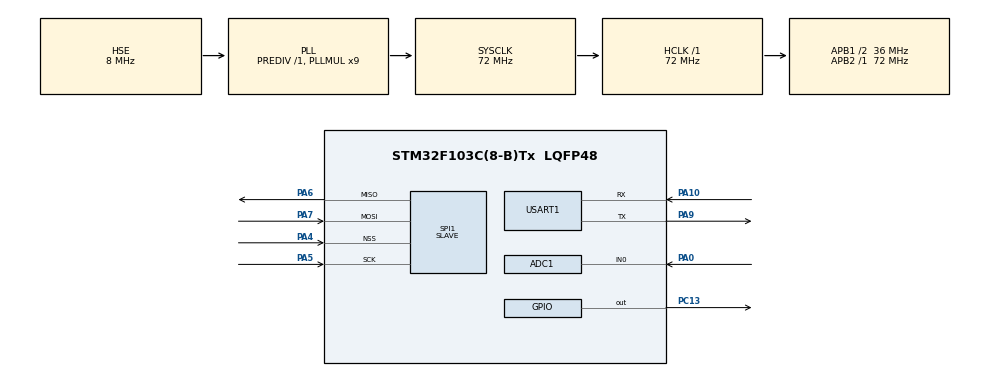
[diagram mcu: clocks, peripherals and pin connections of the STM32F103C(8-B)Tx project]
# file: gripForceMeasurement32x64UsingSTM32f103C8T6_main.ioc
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ADC1.Channel-0\#ChannelRegularConversion=ADC_CHANNEL_0
ADC1.NbrOfConversionFlag=1
ADC1.Rank-0\#ChannelRegularConversion=1
ADC1.SamplingTime-0\#ChannelRegularConversion=ADC_SAMPLETIME_1CYCLE_5
ADC1.master=1
Mcu.Family=STM32F1
Mcu.Name=STM32F103C(8-B)Tx
Mcu.Package=LQFP48
NVIC.PriorityGroup=NVIC_PRIORITYGROUP_4
NVIC.SPI1_IRQn=true\:0\:0\:false\:false\:true\:true\:true\:true
PA0-WKUP.Signal=ADCx_IN0
PA10.Mode=Asynchronous
PA10.Signal=USART1_RX
PA13.Mode=Serial_Wire
PA13.Signal=SYS_JTMS-SWDIO
PA14.Mode=Serial_Wire
PA14.Signal=SYS_JTCK-SWCLK
PA4.Mode=NSS_Signal_Hard_Input
PA4.Signal=SPI1_NSS
PA5.Mode=Full_Duplex_Slave
PA5.Signal=SPI1_SCK
PA6.Mode=Full_Duplex_Slave
PA6.Signal=SPI1_MISO
PA7.Mode=Full_Duplex_Slave
PA7.Signal=SPI1_MOSI
PA9.Mode=Asynchronous
PA9.Signal=USART1_TX
PC13-TAMPER-RTC.Signal=GPIO_Output
PD0-OSC_IN.Mode=HSE-External-Oscillator
PD0-OSC_IN.Signal=RCC_OSC_IN
PD1-OSC_OUT.Mode=HSE-External-Oscillator
PD1-OSC_OUT.Signal=RCC_OSC_OUT
ProjectManager.HeapSize=0x200
ProjectManager.StackSize=0x400
ProjectManager.TargetToolchain=STM32CubeIDE
RCC.ADCPresc=RCC_ADCPCLK2_DIV6
RCC.AHBFreq_Value=72000000
RCC.APB1CLKDivider=RCC_HCLK_DIV2
RCC.APB1Freq_Value=36000000
RCC.APB1TimFreq_Value=72000000
RCC.APB2Freq_Value=72000000
RCC.APB2TimFreq_Value=72000000
RCC.HCLKFreq_Value=72000000
RCC.PLLMUL=RCC_PLL_MUL9
RCC.PLLSourceVirtual=RCC_PLLSOURCE_HSE
RCC.SYSCLKFreq_VALUE=72000000
RCC.SYSCLKSource=RCC_SYSCLKSOURCE_PLLCLK
RCC.USBFreq_Value=72000000
SH.ADCx_IN0.0=ADC1_IN0,IN0
SPI1.Direction=SPI_DIRECTION_2LINES
SPI1.Mode=SPI_MODE_SLAVE
SPI1.VirtualNSS=VM_NSSHARD
SPI1.VirtualType=VM_SLAVE
USART1.VirtualMode=VM_ASYNC
board=custom

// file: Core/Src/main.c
/* USER CODE BEGIN Header */
/**
  ******************************************************************************
  * @file           : main.c
  * @brief          : Main program body
  ******************************************************************************
  * @attention
  *
  * Copyright (c) 2025 STMicroelectronics.
  * All rights reserved.
  *
  * This software is licensed under terms that can be found in the LICENSE file
  * in the root directory of this software component.
  * If no LICENSE file comes with this software, it is provided AS-IS.
  *
  ******************************************************************************
  */
/* USER CODE END Header */
#include "main.h"

/* USER CODE BEGIN Includes */
#include <stdio.h>
#include <string.h>
/* USER CODE END Includes */

/* USER CODE BEGIN PD */

//#define A0_PIN GPIO_PIN_5
//#define A1_PIN GPIO_PIN_6
//#define A2_PIN GPIO_PIN_7
//#define A3_PIN GPIO_PIN_8
//#define A4_PIN GPIO_PIN_9
//#define ROW_CS_PIN GPIO_PIN_12
//#define COL1_CS_PIN GPIO_PIN_13
//#define COL2_CS_PIN GPIO_PIN_14

#define WR_PIN GPIO_PIN_10
#define EN_PIN GPIO_PIN_1
#define GPIO_PORT GPIOB

#define DELAY_MicroSec 10

#define GPIO_PORT_A GPIOA
#define GPIO_PORT_B GPIOB

#define A0_PIN GPIO_PIN_4
#define A1_PIN GPIO_PIN_3
#define A2_PIN GPIO_PIN_15
#define A3_PIN GPIO_PIN_14
#define A4_PIN GPIO_PIN_13

#define CON_SEL_R_1 GPIO_PIN_0
#define CON_SEL_R_2 GPIO_PIN_5
#define CON_SEL_R_3 GPIO_PIN_7
#define CON_SEL_R_4 GPIO_PIN_2		// PORTA

#define CON_SEL_L_1 GPIO_PIN_11
#define CON_SEL_L_2 GPIO_PIN_12
#define CON_SEL_L_3 GPIO_PIN_6
#define CON_SEL_L_4 GPIO_PIN_1		// PORTA

#define ROW_SEL_L GPIO_PIN_8
#define ROW_SEL_R GPIO_PIN_9

/* USER CODE END PD */

ADC_HandleTypeDef hadc1;

SPI_HandleTypeDef hspi1;

UART_HandleTypeDef huart1;

/* USER CODE BEGIN PV */

// Updated 2D array to store pressure readings
uint16_t pressure_readings[32][64];

// Start and end markers for data transmission
uint8_t start_marker[] = {0xAA, 0xBB};
uint8_t end_marker[] = {0xBB, 0xAA};

// Updated 2D array to store pressure readings
//uint16_t pressure_readings[32][64];
uint16_t dummy_receive[32][64];

// globals
static uint16_t bufA[32][64];
static uint16_t bufB[32][64];
static volatile uint16_t (*tx_buf)[64]   = bufA;  // currently served to SPI
static volatile uint16_t (*fill_buf)[64] = bufB;  // being filled by ADC
static volatile uint8_t frame_ready = 0;

volatile uint8_t data_ready = 0;
volatile uint8_t spi_busy = 0;

volatile uint8_t need_scan  = 0;

/* USER CODE END PV */

void SystemClock_Config(void);
static void MX_GPIO_Init(void);
static void MX_ADC1_Init(void);
static void MX_USART1_UART_Init(void);
static void MX_SPI1_Init(void);
/* USER CODE BEGIN PFP */

void ADC1_Init(void);
void USART1_Init(void);

void DWT_Init(void);
void delay_us(uint32_t us);

uint16_t Read_ADC_Channel0(void);
void USART1_Transmit(const char *data);

void ADG732_Init(void);
void ADG732_SetAddress(uint8_t address);
uint8_t MapColumnIndex(uint8_t col);
void ADG732_SelectChannel(uint8_t col_channel, uint8_t row_channel);
void Collect_Pressure_Readings(void);
void Transmit_Pressure_Readings(void);

/* USER CODE END PFP */

/* USER CODE BEGIN 0 */

// Initialize GPIO pins for ADG732 control
// Initialize the DWT for microsecond delays
void DWT_Init(void) {
    CoreDebug->DEMCR |= CoreDebug_DEMCR_TRCENA_Msk;
    DWT->CYCCNT = 0;
    DWT->CTRL |= DWT_CTRL_CYCCNTENA_Msk;
}

// Microsecond delay using DWT
void delay_us(uint32_t us) {
    uint32_t cycles = (SystemCoreClock / 1000000) * us;
    uint32_t start = DWT->CYCCNT;
    while ((DWT->CYCCNT - start) < cycles);
}

// GPIO Initialization Function
void UD_GPIO_Init(void) {
    __HAL_RCC_GPIOC_CLK_ENABLE();  // Enable GPIOC clock
    //__HAL_RCC_GPIOA_CLK_ENABLE();

    GPIO_InitTypeDef GPIO_InitStruct = {0};
    GPIO_InitStruct.Pin = GPIO_PIN_13;
    GPIO_InitStruct.Mode = GPIO_MODE_OUTPUT_PP;  // Push-Pull Output
    GPIO_InitStruct.Pull = GPIO_NOPULL;  // No Pull-up/down
    GPIO_InitStruct.Speed = GPIO_SPEED_FREQ_LOW;  // Low-speed
    HAL_GPIO_Init(GPIOC, &GPIO_InitStruct);
}

// Initialize ADC1 on Channel 0
/*void ADC1_Init(void) {
    __HAL_RCC_ADC1_CLK_ENABLE();

    ADC_HandleTypeDef hadc1;
    hadc1.Instance = ADC1;
    hadc1.Init.ScanConvMode = ADC_SCAN_DISABLE;
    hadc1.Init.ContinuousConvMode = DISABLE;
    hadc1.Init.DiscontinuousConvMode = DISABLE;
    hadc1.Init.ExternalTrigConv = ADC_SOFTWARE_START;
    hadc1.Init.DataAlign = ADC_DATAALIGN_RIGHT;
    hadc1.Init.NbrOfConversion = 1;
    HAL_ADC_Init(&hadc1);

    ADC_ChannelConfTypeDef sConfig = {0};
    sConfig.Channel = ADC_CHANNEL_0;
    sConfig.Rank = ADC_REGULAR_RANK_1;
    HAL_ADC_ConfigChannel(&hadc1, &sConfig);
}

// Read ADC value from Channel 0
uint16_t Read_ADC_Channel0(void) {
    ADC_HandleTypeDef hadc1;
    hadc1.Instance = ADC1;

    HAL_ADC_Start(&hadc1);
    HAL_ADC_PollForConversion(&hadc1, HAL_MAX_DELAY);
    uint16_t adc_value = HAL_ADC_GetValue(&hadc1);
    HAL_ADC_Stop(&hadc1);

    return adc_value;
}*/

// GLOBAL hadc1 is already declared at file scope

void ADC1_Init(void) {
    __HAL_RCC_ADC1_CLK_ENABLE();

    hadc1.Instance = ADC1;                       // <-- use GLOBAL
    hadc1.Init.ScanConvMode = ADC_SCAN_DISABLE;
    hadc1.Init.ContinuousConvMode = DISABLE;
    hadc1.Init.DiscontinuousConvMode = DISABLE;
    hadc1.Init.ExternalTrigConv = ADC_SOFTWARE_START;
    hadc1.Init.DataAlign = ADC_DATAALIGN_RIGHT;
    hadc1.Init.NbrOfConversion = 1;
    HAL_ADC_Init(&hadc1);

    ADC_ChannelConfTypeDef sConfig = {0};
    sConfig.Channel = ADC_CHANNEL_0;
    sConfig.Rank = ADC_REGULAR_RANK_1;
    sConfig.SamplingTime = ADC_SAMPLETIME_28CYCLES_5; // give the mux time
    HAL_ADC_ConfigChannel(&hadc1, &sConfig);
}

uint16_t Read_ADC_Channel0(void) {
    HAL_ADC_Start(&hadc1);                        // <-- use GLOBAL
    HAL_ADC_PollForConversion(&hadc1, HAL_MAX_DELAY);
    uint16_t v = HAL_ADC_GetValue(&hadc1);
    HAL_ADC_Stop(&hadc1);
    return v;
}

// Initialize USART1 for UART communication
void USART1_Init(void) {
    __HAL_RCC_USART1_CLK_ENABLE();

    huart1.Instance = USART1;
    huart1.Init.BaudRate = 921600;//115200;
    huart1.Init.WordLength = UART_WORDLENGTH_8B;
    huart1.Init.StopBits = UART_STOPBITS_1;
    huart1.Init.Parity = UART_PARITY_NONE;
    huart1.Init.Mode = UART_MODE_TX_RX;
    huart1.Init.HwFlowCtl = UART_HWCONTROL_NONE;
    huart1.Init.OverSampling = UART_OVERSAMPLING_16;
    HAL_UART_Init(&huart1);
}

// Function to transmit data over USART1
void USART1_Transmit(const char *data) {
    HAL_UART_Transmit(&huart1, (uint8_t*)data, strlen(data), HAL_MAX_DELAY);
}

// Initialize GPIO pins for ADG732
void ADG732_Init(void) {
    __HAL_RCC_GPIOB_CLK_ENABLE();

    GPIO_InitTypeDef GPIO_InitStruct = {0};

    // Configure address pins (A0–A4)
    GPIO_InitStruct.Pin = A0_PIN | A1_PIN | A2_PIN | A3_PIN | A4_PIN;
    GPIO_InitStruct.Mode = GPIO_MODE_OUTPUT_PP;
    GPIO_InitStruct.Pull = GPIO_NOPULL;
    GPIO_InitStruct.Speed = GPIO_SPEED_FREQ_HIGH;
    HAL_GPIO_Init(GPIO_PORT, &GPIO_InitStruct);

    // Configure chip select pins
    GPIO_InitStruct.Pin = CON_SEL_R_1 | CON_SEL_R_2 | CON_SEL_R_3 | CON_SEL_L_1 | CON_SEL_L_2 | CON_SEL_L_3 | ROW_SEL_L | ROW_SEL_R;
    HAL_GPIO_Init(GPIO_PORT, &GPIO_InitStruct);

    // Configure chip select pins
	GPIO_InitStruct.Pin = CON_SEL_R_4 | CON_SEL_L_4;
	HAL_GPIO_Init(GPIO_PORT_A, &GPIO_InitStruct);

    // Configure WR and EN pins
    GPIO_InitStruct.Pin = WR_PIN | EN_PIN;
    HAL_GPIO_Init(GPIO_PORT, &GPIO_InitStruct);

    // Set default states
    HAL_GPIO_WritePin(GPIO_PORT, CON_SEL_R_1, GPIO_PIN_SET);
    HAL_GPIO_WritePin(GPIO_PORT, CON_SEL_R_2, GPIO_PIN_SET);
    HAL_GPIO_WritePin(GPIO_PORT, CON_SEL_R_3, GPIO_PIN_SET);
    HAL_GPIO_WritePin(GPIO_PORT_A, CON_SEL_R_4, GPIO_PIN_SET);
    HAL_GPIO_WritePin(GPIO_PORT, CON_SEL_L_1, GPIO_PIN_SET);
	HAL_GPIO_WritePin(GPIO_PORT, CON_SEL_L_2, GPIO_PIN_SET);
	HAL_GPIO_WritePin(GPIO_PORT, CON_SEL_L_3, GPIO_PIN_SET);
	HAL_GPIO_WritePin(GPIO_PORT_A, CON_SEL_L_4, GPIO_PIN_SET);
	HAL_GPIO_WritePin(GPIO_PORT, ROW_SEL_L, GPIO_PIN_SET);
	HAL_GPIO_WritePin(GPIO_PORT, ROW_SEL_R, GPIO_PIN_SET);
    HAL_GPIO_WritePin(GPIO_PORT, WR_PIN, GPIO_PIN_SET);
    HAL_GPIO_WritePin(GPIO_PORT, EN_PIN, GPIO_PIN_RESET);
}

// Set multiplexer address using address pins A0–A4
void ADG732_SetAddress(uint8_t address) {
    HAL_GPIO_WritePin(GPIO_PORT, A0_PIN, (address & 0x01) ? GPIO_PIN_SET : GPIO_PIN_RESET);
    HAL_GPIO_WritePin(GPIO_PORT, A1_PIN, (address & 0x02) ? GPIO_PIN_SET : GPIO_PIN_RESET);
    HAL_GPIO_WritePin(GPIO_PORT, A2_PIN, (address & 0x04) ? GPIO_PIN_SET : GPIO_PIN_RESET);
    HAL_GPIO_WritePin(GPIO_PORT, A3_PIN, (address & 0x08) ? GPIO_PIN_SET : GPIO_PIN_RESET);
    HAL_GPIO_WritePin(GPIO_PORT, A4_PIN, (address & 0x10) ? GPIO_PIN_SET : GPIO_PIN_RESET);
}

// Map logical column index to physical column index
//uint8_t MapColumnIndex(uint8_t col) {
//    if (col < 16) {
//        return col; // 0–15 map directly to 0–15
//    } else if (col < 32) {
//        return 31 - (col - 16); // 16–31 map in reverse to 31–16
//    } else if (col < 48) {
//        return col; // 32–47 map directly to 32–47
//    } else {
//        return 63 - (col - 48); // 48–63 map in reverse to 63–48
//    }
//}

uint8_t MapColumnIndex(uint8_t col) {
    if (col < 16) {
        return 16 + col; // 0–15 map directly to 16–31
    } else if (col < 32) {
        return (31-col); // 16–31 map in reverse to 15–0
    } else if (col < 48) {
        return col; // 32–47 map directly to 32–47
    } else {
        return 63 - (col - 48); // 48–63 map in reverse to 63–48
    }
}

uint8_t MapRowIndex(uint8_t row) {
	if (row <16) {
		return row; // 0–15 map directly to 0–15
	} else {
		return 31 -(row - 16); // 16–31 map in reverse to 31–16
	}
}

// Select a specific row and column
void ADG732_SelectChannel(uint8_t col_channel, uint8_t row_channel_val) {
    // Select row
	uint8_t row_channel;
	if (row_channel_val < 16) {
		//row_channel = 15 - row_channel_val;
		row_channel = row_channel_val;
	}
	else {
		 row_channel = 16 + (31 - row_channel_val);
		//row_channel = row_channel_val;
	}

//	HAL_GPIO_WritePin(GPIO_PORT, ROW_SEL_L, GPIO_PIN_RESET);
//	HAL_GPIO_WritePin(GPIO_PORT, EN_PIN, GPIO_PIN_SET);   // disable (EN is active-low)

	if (row_channel >= 0 && row_channel <8 && col_channel < 32) {
		HAL_GPIO_WritePin(GPIO_PORT, ROW_SEL_L, GPIO_PIN_RESET);
	}
	else if (row_channel >= 0 && row_channel <8 && col_channel >= 32) {
		HAL_GPIO_WritePin(GPIO_PORT, ROW_SEL_R, GPIO_PIN_RESET);
	}
	else if (row_channel >= 8 && row_channel <16 && col_channel < 32) {
		HAL_GPIO_WritePin(GPIO_PORT, ROW_SEL_L, GPIO_PIN_RESET);
	}
	else if (row_channel >= 8 && row_channel <16 && col_channel >= 32) {
		HAL_GPIO_WritePin(GPIO_PORT, ROW_SEL_R, GPIO_PIN_RESET);
	}
//bottom half
	else if (row_channel >= 16 && row_channel <24 && col_channel < 32) {
			HAL_GPIO_WritePin(GPIO_PORT, ROW_SEL_L, GPIO_PIN_RESET);
	}
	else if (row_channel >= 16 && row_channel <24 && col_channel >= 32) {
		HAL_GPIO_WritePin(GPIO_PORT, ROW_SEL_R, GPIO_PIN_RESET);
	}
	else if (row_channel >= 24 && row_channel <32 && col_channel < 32) {
		HAL_GPIO_WritePin(GPIO_PORT, ROW_SEL_L, GPIO_PIN_RESET);
	}
	else {
		HAL_GPIO_WritePin(GPIO_PORT, ROW_SEL_R, GPIO_PIN_RESET);
	}

//	if (col_channel <32) {
//		if (row_channel_val < 16) {
//			//row_channel = 15 - row_channel_val;
//			row_channel_val = 16 + row_channel_val;
//		}
//		else {
//			row_channel_val = 31- row_channel_val;
//			//row_channel = row_channel_val;
//		}
//	}
//
//    ADG732_SetAddress(row_channel_val);
	uint8_t row_address = row_channel_val;
	if (col_channel < 32) {
	    if (row_channel_val < 16) {
	        row_address = 16 + row_channel_val;
	    } else {
	        row_address = 31 - row_channel_val;
	    }
	}
	ADG732_SetAddress(row_address);

    delay_us(1);
    HAL_GPIO_WritePin(GPIO_PORT, WR_PIN, GPIO_PIN_RESET);
    delay_us(1);
    HAL_GPIO_WritePin(GPIO_PORT, WR_PIN, GPIO_PIN_SET);
    HAL_GPIO_WritePin(GPIO_PORT, ROW_SEL_L, GPIO_PIN_SET);
    HAL_GPIO_WritePin(GPIO_PORT, ROW_SEL_R, GPIO_PIN_SET);

//    if (col_channel <32 && row_channel_val < 16) {
//    	row_channel = (31 - row_channel_val);
//    }
	if (col_channel <32) {
		if (row_channel_val < 16) {
			//row_channel = 15 - row_channel_val;
			//row_channel = 31 - row_channel_val;
			//row_channel = 31- row_channel_val;
		}
	}

    //Select Column
//    HAL_GPIO_WritePin(GPIO_PORT, CON_SEL_L_1, GPIO_PIN_RESET);

    ADG732_SetAddress(col_channel);
    delay_us(1);

	if (row_channel >= 0 && row_channel <8 && col_channel < 32) {
		HAL_GPIO_WritePin(GPIO_PORT, CON_SEL_L_1, GPIO_PIN_RESET);
	}
	else if (row_channel >= 0 && row_channel <8 && col_channel >= 32) {
		HAL_GPIO_WritePin(GPIO_PORT, CON_SEL_R_1, GPIO_PIN_RESET);
	}
	else if (row_channel >= 8 && row_channel <16 && col_channel < 32) {
		HAL_GPIO_WritePin(GPIO_PORT, CON_SEL_L_2, GPIO_PIN_RESET);
	}
	else if (row_channel >= 8 && row_channel <16 && col_channel >= 32) {
		HAL_GPIO_WritePin(GPIO_PORT, CON_SEL_R_2, GPIO_PIN_RESET);
	}
//bottom half
	else if (row_channel >= 16 && row_channel <24 && col_channel < 32) {
			HAL_GPIO_WritePin(GPIO_PORT, CON_SEL_L_3, GPIO_PIN_RESET);
	}
	else if (row_channel >= 16 && row_channel <24 && col_channel >= 32) {
		HAL_GPIO_WritePin(GPIO_PORT, CON_SEL_R_3, GPIO_PIN_RESET);
	}
	else if (row_channel >= 24 && row_channel <32 && col_channel < 32) {
		HAL_GPIO_WritePin(GPIO_PORT_A, CON_SEL_L_4, GPIO_PIN_RESET);
	}
	else {
		HAL_GPIO_WritePin(GPIO_PORT_A, CON_SEL_R_4, GPIO_PIN_RESET);
	}

    //HAL_GPIO_WritePin(GPIO_PORT, ROW_CS_PIN, GPIO_PIN_RESET);
//    ADG732_SetAddress(col_channel);
//    delay_us(1);
    HAL_GPIO_WritePin(GPIO_PORT, WR_PIN, GPIO_PIN_RESET);
    delay_us(1);
    HAL_GPIO_WritePin(GPIO_PORT, WR_PIN, GPIO_PIN_SET);

    HAL_GPIO_WritePin(GPIO_PORT, CON_SEL_L_1, GPIO_PIN_SET);
    HAL_GPIO_WritePin(GPIO_PORT, CON_SEL_L_2, GPIO_PIN_SET);
    HAL_GPIO_WritePin(GPIO_PORT, CON_SEL_L_3, GPIO_PIN_SET);
    HAL_GPIO_WritePin(GPIO_PORT_A, CON_SEL_L_4, GPIO_PIN_SET);
    HAL_GPIO_WritePin(GPIO_PORT, CON_SEL_R_1, GPIO_PIN_SET);
    HAL_GPIO_WritePin(GPIO_PORT, CON_SEL_R_2, GPIO_PIN_SET);
    HAL_GPIO_WritePin(GPIO_PORT, CON_SEL_R_3, GPIO_PIN_SET);
    HAL_GPIO_WritePin(GPIO_PORT_A, CON_SEL_R_4, GPIO_PIN_SET);

//	if (row_channel >= 0 && row_channel <8 && col_channel >= 32) {
//		HAL_GPIO_WritePin(GPIO_PORT, CON_SEL_L_1, GPIO_PIN_RESET);
//	}

//    HAL_GPIO_WritePin(GPIO_PORT, EN_PIN, GPIO_PIN_RESET); // enable
//    delay_us(2);
}

// Helper: compute the actual row address for the ADG732 given the logical row and which column half we're on
static inline uint8_t MapRowAddrForSide(uint8_t row_logical, uint8_t col_channel) {
    // Your stated rules:
    // - If col < 32:
    //     - if row < 16: row_addr = 16 + row
    //     - else       : row_addr = 31 - row
    // - If col >= 32:
    //     - if row < 16: row_addr = row (unchanged)
    //     - else       : row_addr = 16 + (31 - row)

    if (col_channel < 32) {
        if (row_logical < 16) {
            return (uint8_t)(16 + row_logical);
        } else {
            return (uint8_t)(31 - row_logical);
        }
    } else {
        if (row_logical < 16) {
            return row_logical;
        } else {
            return (uint8_t)(16 + (31 - row_logical));
        }
    }
}

// Select a specific row and column
void ADG732_SelectChannel2(uint8_t col_channel /* already mapped */, uint8_t row_logical /* 0..31 raw */) {
    // ----- Decide side and row group (for enables) without mutating inputs -----
    const uint8_t side_left = (col_channel < 32);
    const uint8_t row_group = row_logical >> 3;   // 0..3 (groups of 8 rows)

    // ----- Drive ROW side enable first -----
    // Deassert both rows, then assert the one we want
    HAL_GPIO_WritePin(GPIO_PORT, ROW_SEL_L, GPIO_PIN_SET);
    HAL_GPIO_WritePin(GPIO_PORT, ROW_SEL_R, GPIO_PIN_SET);
    HAL_GPIO_WritePin(GPIO_PORT, side_left ? ROW_SEL_L : ROW_SEL_R, GPIO_PIN_RESET);

    // ----- Set ROW address (mapped for this side), strobe WR -----
    const uint8_t row_address = MapRowAddrForSide(row_logical, col_channel);
    ADG732_SetAddress(row_address);
    delay_us(1);
    HAL_GPIO_WritePin(GPIO_PORT, WR_PIN, GPIO_PIN_RESET);
    delay_us(1);
    HAL_GPIO_WritePin(GPIO_PORT, WR_PIN, GPIO_PIN_SET);

    // Optionally release row enables if your hardware needs it:
     HAL_GPIO_WritePin(GPIO_PORT, ROW_SEL_L, GPIO_PIN_SET);
     HAL_GPIO_WritePin(GPIO_PORT, ROW_SEL_R, GPIO_PIN_SET);

    // ----- Now set COLUMN address, then select the correct COLUMN enable for this side+row_group -----
    ADG732_SetAddress(col_channel);
    delay_us(1);
    HAL_GPIO_WritePin(GPIO_PORT, WR_PIN, GPIO_PIN_RESET);
    delay_us(1);
    HAL_GPIO_WritePin(GPIO_PORT, WR_PIN, GPIO_PIN_SET);

    // Deassert all column enables first
    HAL_GPIO_WritePin(GPIO_PORT, CON_SEL_L_1, GPIO_PIN_SET);
    HAL_GPIO_WritePin(GPIO_PORT, CON_SEL_L_2, GPIO_PIN_SET);
    HAL_GPIO_WritePin(GPIO_PORT, CON_SEL_L_3, GPIO_PIN_SET);
    HAL_GPIO_WritePin(GPIO_PORT_A, CON_SEL_L_4, GPIO_PIN_SET);
    HAL_GPIO_WritePin(GPIO_PORT, CON_SEL_R_1, GPIO_PIN_SET);
    HAL_GPIO_WritePin(GPIO_PORT, CON_SEL_R_2, GPIO_PIN_SET);
    HAL_GPIO_WritePin(GPIO_PORT, CON_SEL_R_3, GPIO_PIN_SET);
    HAL_GPIO_WritePin(GPIO_PORT_A, CON_SEL_R_4, GPIO_PIN_SET);

    // Assert only the one we need
    if (side_left) {
        switch (row_group) {
            case 0: HAL_GPIO_WritePin(GPIO_PORT,   CON_SEL_L_1, GPIO_PIN_RESET); break;
            case 1: HAL_GPIO_WritePin(GPIO_PORT,   CON_SEL_L_2, GPIO_PIN_RESET); break;
            case 2: HAL_GPIO_WritePin(GPIO_PORT,   CON_SEL_L_3, GPIO_PIN_RESET); break;
            default: HAL_GPIO_WritePin(GPIO_PORT_A, CON_SEL_L_4, GPIO_PIN_RESET); break;
        }
    } else {
        switch (row_group) {
            case 0: HAL_GPIO_WritePin(GPIO_PORT,   CON_SEL_R_1, GPIO_PIN_RESET); break;
            case 1: HAL_GPIO_WritePin(GPIO_PORT,   CON_SEL_R_2, GPIO_PIN_RESET); break;
            case 2: HAL_GPIO_WritePin(GPIO_PORT,   CON_SEL_R_3, GPIO_PIN_RESET); break;
            default: HAL_GPIO_WritePin(GPIO_PORT_A, CON_SEL_R_4, GPIO_PIN_RESET); break;
        }
    }

    // If you want to latch columns and then release enables immediately:
    // HAL_GPIO_WritePin(GPIO_PORT, CON_SEL_L_1, GPIO_PIN_SET); ...
    // (or keep asserted during the ADC read—depends on your timing design)
}

void inside_for_loop(uint8_t row) {
	for (uint8_t col = 0; col < 64; col++) {
		uint8_t mapped_col = MapColumnIndex(col); // Map logical to physical column
		uint8_t mapped_row = MapRowIndex(row);
		ADG732_SelectChannel2(mapped_col, row);
		delay_us(DELAY_MicroSec);
		//delay_us(10);

		// Read ADC value and store in the array
		//pressure_readings[row][col] = Read_ADC_Channel0();

		//pressure_readings[row][col] = (row >= 24) ? Read_ADC_Channel0() : 0;
		uint16_t adc_val;
		Read_ADC_Channel0();
		 adc_val = Read_ADC_Channel0();  // Always read

		pressure_readings[row][col] = adc_val; //1024;
	}
}

// Collect pressure readings
void Collect_Pressure_Readings(void) {
    for (uint8_t row = 0; row < 32; row++) {			// 0 to 32
    inside_for_loop(row);

    }
}

static void collect_into(uint16_t dst[32][64]) {
    for (uint8_t r=0; r<32; r++) {
        for (uint8_t c=0; c<64; c++) {
            // select row/col
        	uint8_t mapped_col = MapColumnIndex(c); // Map logical to physical column
        	ADG732_SelectChannel2(mapped_col, r);
            // settle
        	delay_us(DELAY_MicroSec);
            // read ADC
        	uint16_t adc_val;
			Read_ADC_Channel0();
			adc_val = Read_ADC_Channel0();  // Always read
            dst[r][c] = adc_val;
        }
    }
}

// Collect pressure readings
void Collect_Dummy_Pressure_Readings(void) {
    for (uint8_t row = 0; row < 32; row++) {			// 0 to 32
        for (uint8_t col = 0; col < 64; col++) {	// 0 to 64
            // Read ADC value and store in the array
            pressure_readings[row][col] = 1048;//Read_ADC_Channel0();
            if (row >= 31 && col >= 60){
            	pressure_readings[row][col] = 2122;
            }
        }
    }
}

// Transmit pressure readings over UART
void Transmit_Pressure_Readings(void) {
    char buffer[50];
    for (uint8_t row = 0; row < 32; row++) {
        for (uint8_t col = 0; col < 64; col++) {
            snprintf(buffer, sizeof(buffer), "Row: %d, Col: %d, ADC: %d\r\n", row, col, pressure_readings[row][col]);
            USART1_Transmit(buffer);
        }
    }
}

// Transmit entire at once
void Transmit_Pressure_Readings_atOnce(void) {
    // Transmit start marker
    HAL_UART_Transmit(&huart1, start_marker, sizeof(start_marker), HAL_MAX_DELAY);

    // Transmit the entire matrix in one call
    HAL_UART_Transmit(&huart1, (uint8_t*)pressure_readings, sizeof(pressure_readings), HAL_MAX_DELAY);

    // Transmit end marker
    HAL_UART_Transmit(&huart1, end_marker, sizeof(end_marker), HAL_MAX_DELAY);
}

// Transmit in Row Chunks
void Transmit_Pressure_Readings_RowChunks(void) {
    // Transmit start marker
    HAL_UART_Transmit(&huart1, start_marker, sizeof(start_marker), HAL_MAX_DELAY);

    // Transmit each row as a chunk
    for (uint8_t row = 0; row < 32; row++) {
        HAL_UART_Transmit(&huart1, (uint8_t*)pressure_readings[row], sizeof(pressure_readings[row]), HAL_MAX_DELAY);
    }

    // Transmit end marker
    HAL_UART_Transmit(&huart1, end_marker, sizeof(end_marker), HAL_MAX_DELAY);
}

void myPinToggle(void){
	HAL_GPIO_TogglePin(GPIOC, GPIO_PIN_13);

	// Delay for 500ms
	HAL_Delay(500);
}

/* USER CODE END 0 */

int main(void)
{

  /* MCU Configuration--------------------------------------------------------*/

  /* Reset of all peripherals, Initializes the Flash interface and the Systick. */
  HAL_Init();

  /* Configure the system clock */
  SystemClock_Config();

  /* Initialize all configured peripherals */
  MX_GPIO_Init();
  MX_ADC1_Init();
  MX_USART1_UART_Init();
  MX_SPI1_Init();
  /* USER CODE BEGIN 2 */

  UD_GPIO_Init();
  DWT_Init();
  ADG732_Init();
  ADC1_Init();
  USART1_Init();

  HAL_Delay(1000);
  myPinToggle();

  //Collect_Dummy_Pressure_Readings();
//  Collect_Pressure_Readings();
//  HAL_SPI_TransmitReceive_IT(&hspi1, (uint8_t*)&pressure_readings, (uint8_t *)&dummy_receive, sizeof(pressure_readings));
  // arm first transfer
  //HAL_SPI_TransmitReceive_IT(&hspi1, (uint8_t*)tx_buf, (uint8_t*)dummy_receive, sizeof(bufA));

  //updated on 29 August 2025
  // Start the first scan in the background (optional)
  __DMB();
  frame_ready = 0;  // no new frame yet

  // Arm first SPI transfer with the TX buffer
  HAL_SPI_TransmitReceive_IT(&hspi1,
      (uint8_t*)tx_buf, (uint8_t*)dummy_receive, sizeof(bufA));

  /* USER CODE END 2 */

  /* Infinite loop */
  while (1)
  {

    /* USER CODE BEGIN 3 */

      // Fill the background buffer while SPI can serve the current one
//      collect_into((uint16_t (*)[64])fill_buf);   // your 32x64 scan
//      __DMB();                                    // memory barrier
//      frame_ready = 1;                            // publish new frame
      // (optional small delay)

	  //Collect_Pressure_Readings();    // Collect readings from the 8x8 matrix
	  //Transmit_Pressure_Readings_RowChunks();

//	  if (need_scan == 1) {					//before 29 august 2025
//		  Collect_Pressure_Readings();
//
//		  need_scan = 0;
//	  }
//
//	  HAL_Delay(1);  // Delay between each full scan to avoid overflow

	collect_into((uint16_t (*)[64])fill_buf);  // scan whole 32x64 into the background buffer
	__DMB();                                   // memory barrier before publishing
	frame_ready = 1;                           // signal “new frame ready for TX”
	// (optional) HAL_Delay(1);

  }
  /* USER CODE END 3 */
}

void SystemClock_Config(void)
{
  RCC_OscInitTypeDef RCC_OscInitStruct = {0};
  RCC_ClkInitTypeDef RCC_ClkInitStruct = {0};
  RCC_PeriphCLKInitTypeDef PeriphClkInit = {0};

  /** Initializes the RCC Oscillators according to the specified parameters
  * in the RCC_OscInitTypeDef structure.
  */
  RCC_OscInitStruct.OscillatorType = RCC_OSCILLATORTYPE_HSE;
  RCC_OscInitStruct.HSEState = RCC_HSE_ON;
  RCC_OscInitStruct.HSEPredivValue = RCC_HSE_PREDIV_DIV1;
  RCC_OscInitStruct.HSIState = RCC_HSI_ON;
  RCC_OscInitStruct.PLL.PLLState = RCC_PLL_ON;
  RCC_OscInitStruct.PLL.PLLSource = RCC_PLLSOURCE_HSE;
  RCC_OscInitStruct.PLL.PLLMUL = RCC_PLL_MUL9;
  if (HAL_RCC_OscConfig(&RCC_OscInitStruct) != HAL_OK)
  {
    Error_Handler();
  }

  /** Initializes the CPU, AHB and APB buses clocks
  */
  RCC_ClkInitStruct.ClockType = RCC_CLOCKTYPE_HCLK|RCC_CLOCKTYPE_SYSCLK
                              |RCC_CLOCKTYPE_PCLK1|RCC_CLOCKTYPE_PCLK2;
  RCC_ClkInitStruct.SYSCLKSource = RCC_SYSCLKSOURCE_PLLCLK;
  RCC_ClkInitStruct.AHBCLKDivider = RCC_SYSCLK_DIV1;
  RCC_ClkInitStruct.APB1CLKDivider = RCC_HCLK_DIV2;
  RCC_ClkInitStruct.APB2CLKDivider = RCC_HCLK_DIV1;

  if (HAL_RCC_ClockConfig(&RCC_ClkInitStruct, FLASH_LATENCY_2) != HAL_OK)
  {
    Error_Handler();
  }
  PeriphClkInit.PeriphClockSelection = RCC_PERIPHCLK_ADC;
  PeriphClkInit.AdcClockSelection = RCC_ADCPCLK2_DIV6;
  if (HAL_RCCEx_PeriphCLKConfig(&PeriphClkInit) != HAL_OK)
  {
    Error_Handler();
  }
}

static void MX_ADC1_Init(void)
{

  ADC_ChannelConfTypeDef sConfig = {0};

  /** Common config
  */
  hadc1.Instance = ADC1;
  hadc1.Init.ScanConvMode = ADC_SCAN_DISABLE;
  hadc1.Init.ContinuousConvMode = DISABLE;
  hadc1.Init.DiscontinuousConvMode = DISABLE;
  hadc1.Init.ExternalTrigConv = ADC_SOFTWARE_START;
  hadc1.Init.DataAlign = ADC_DATAALIGN_RIGHT;
  hadc1.Init.NbrOfConversion = 1;
  if (HAL_ADC_Init(&hadc1) != HAL_OK)
  {
    Error_Handler();
  }

  /** Configure Regular Channel
  */
  sConfig.Channel = ADC_CHANNEL_0;
  sConfig.Rank = ADC_REGULAR_RANK_1;
  sConfig.SamplingTime = ADC_SAMPLETIME_1CYCLE_5;
  if (HAL_ADC_ConfigChannel(&hadc1, &sConfig) != HAL_OK)
  {
    Error_Handler();
  }

}

static void MX_SPI1_Init(void)
{

  /* SPI1 parameter configuration*/
  hspi1.Instance = SPI1;
  hspi1.Init.Mode = SPI_MODE_SLAVE;
  hspi1.Init.Direction = SPI_DIRECTION_2LINES;
  hspi1.Init.DataSize = SPI_DATASIZE_8BIT;
  hspi1.Init.CLKPolarity = SPI_POLARITY_LOW;
  hspi1.Init.CLKPhase = SPI_PHASE_1EDGE;
  hspi1.Init.NSS = SPI_NSS_HARD_INPUT;
  hspi1.Init.FirstBit = SPI_FIRSTBIT_MSB;
  hspi1.Init.TIMode = SPI_TIMODE_DISABLE;
  hspi1.Init.CRCCalculation = SPI_CRCCALCULATION_DISABLE;
  hspi1.Init.CRCPolynomial = 10;
  if (HAL_SPI_Init(&hspi1) != HAL_OK)
  {
    Error_Handler();
  }

}

static void MX_USART1_UART_Init(void)
{

  huart1.Instance = USART1;
  huart1.Init.BaudRate = 115200;
  huart1.Init.WordLength = UART_WORDLENGTH_8B;
  huart1.Init.StopBits = UART_STOPBITS_1;
  huart1.Init.Parity = UART_PARITY_NONE;
  huart1.Init.Mode = UART_MODE_TX_RX;
  huart1.Init.HwFlowCtl = UART_HWCONTROL_NONE;
  huart1.Init.OverSampling = UART_OVERSAMPLING_16;
  if (HAL_UART_Init(&huart1) != HAL_OK)
  {
    Error_Handler();
  }

}

static void MX_GPIO_Init(void)
{
  GPIO_InitTypeDef GPIO_InitStruct = {0};

  /* GPIO Ports Clock Enable */
  __HAL_RCC_GPIOC_CLK_ENABLE();
  __HAL_RCC_GPIOD_CLK_ENABLE();
  __HAL_RCC_GPIOA_CLK_ENABLE();

  /*Configure GPIO pin Output Level */
  HAL_GPIO_WritePin(GPIOC, GPIO_PIN_13, GPIO_PIN_RESET);

  /*Configure GPIO pin : PC13 */
  GPIO_InitStruct.Pin = GPIO_PIN_13;
  GPIO_InitStruct.Mode = GPIO_MODE_OUTPUT_PP;
  GPIO_InitStruct.Pull = GPIO_NOPULL;
  GPIO_InitStruct.Speed = GPIO_SPEED_FREQ_LOW;
  HAL_GPIO_Init(GPIOC, &GPIO_InitStruct);

}

/* USER CODE BEGIN 4 */

//void HAL_SPI_TxRxCpltCallback(SPI_HandleTypeDef *hspi) {
//    if (hspi->Instance == SPI1) {
//        //HAL_UART_Transmit(&huart1, (uint8_t *)"Request Received: ", 18, HAL_MAX_DELAY);
//        //HAL_UART_Transmit(&huart1, rx_buffer, SPI_MSG_LEN, HAL_MAX_DELAY);
//        //HAL_UART_Transmit(&huart1, (uint8_t *)&dummy_receive[1][1], sizeof(dummy_receive[1][1]), HAL_MAX_DELAY);
//        //HAL_UART_Transmit(&huart1, (uint8_t *)"\r\n", 2, HAL_MAX_DELAY);
//
//        //char msg[32];
//        //sprintf(msg, "Value: %u\r\n", dummy_receive[1][1]);
//        //HAL_UART_Transmit(&huart1, (uint8_t*)msg, strlen(msg), HAL_MAX_DELAY);
//
//        // re-arm the transfer
//        //HAL_SPI_TransmitReceive_IT(&hspi1, slave_response, rx_buffer, SPI_MSG_LEN);
//        //HAL_SPI_TransmitReceive_IT(&hspi1, (uint8_t*)pressure_readings, (uint8_t *)dummy_receive, sizeof(pressure_readings));
//        //HAL_SPI_TransmitReceive_IT(&hspi1, (uint8_t*)&pressure_readings[1][1], (uint8_t *)&dummy_receive[1][1], sizeof(pressure_readings[1][1]));
//    	//Collect_Pressure_Readings();
//    	//Collect_Dummy_Pressure_Readings();
//        HAL_SPI_TransmitReceive_IT(&hspi1, (uint8_t*)&pressure_readings, (uint8_t *)&dummy_receive, sizeof(pressure_readings));
//        Collect_Pressure_Readings();
//    }
//}

//// ----- callback (VERY SHORT) -----
//void HAL_SPI_TxRxCpltCallback(SPI_HandleTypeDef *hspi) {
//    if (hspi->Instance == SPI1) {
//        if (frame_ready) {                  // a new frame is ready?
//            // swap buffers
//            uint16_t (*tmp)[64] = (uint16_t (*)[64])tx_buf;
//            tx_buf   = fill_buf;
//            fill_buf = tmp;
//            frame_ready = 0;
//        }
//        // re-arm SPI immediately with the current tx_buf
//        HAL_SPI_TransmitReceive_IT(&hspi1,
//            (uint8_t*)tx_buf, (uint8_t*)dummy_receive, sizeof(bufA));
//    }
//}

//void HAL_SPI_TxRxCpltCallback(SPI_HandleTypeDef *hspi) {
//    if (hspi->Instance == SPI1) {
//        HAL_SPI_TransmitReceive_IT(&hspi1,
//            (uint8_t*)&pressure_readings, (uint8_t*)&dummy_receive,
//            sizeof(pressure_readings));                 // re-arm immediately
//        // now do NOT block here; kick a flag for the main loop to scan
//        need_scan = 1;
//    }
//}

// new ISR function 29 August 2025
void HAL_SPI_TxRxCpltCallback(SPI_HandleTypeDef *hspi) {
    if (hspi->Instance == SPI1) {
        if (frame_ready) {   // publish the freshly scanned frame atomically
            uint16_t (*tmp)[64] = (uint16_t (*)[64])tx_buf;
            tx_buf   = fill_buf;
            fill_buf = tmp;
            frame_ready = 0;
        }
        // re-arm immediately with the current tx_buf
        HAL_SPI_TransmitReceive_IT(&hspi1,
            (uint8_t*)tx_buf, (uint8_t*)dummy_receive, sizeof(bufA));
    }
}

/* USER CODE END 4 */

void Error_Handler(void)
{
  __disable_irq();
  while (1)
  {
  }
}
